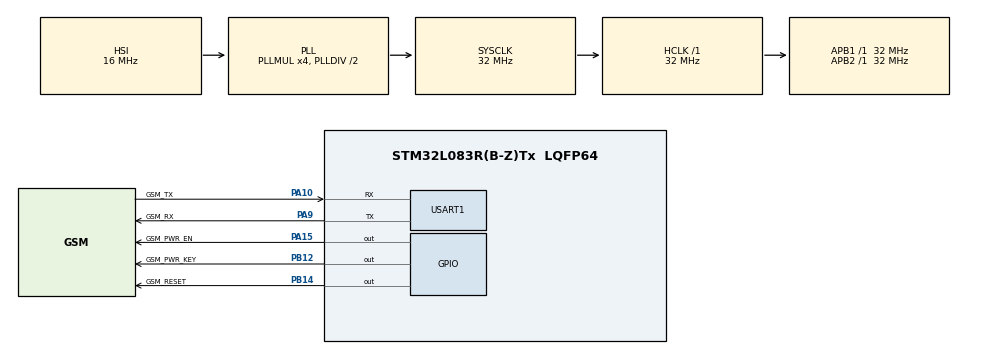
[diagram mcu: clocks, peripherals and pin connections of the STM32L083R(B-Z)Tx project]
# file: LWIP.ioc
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Dma.Request0=USART1_RX
Dma.Request1=USART1_TX
Dma.USART1_RX.0.Direction=DMA_PERIPH_TO_MEMORY
Dma.USART1_RX.0.Instance=DMA1_Channel3
Dma.USART1_RX.0.MemDataAlignment=DMA_MDATAALIGN_BYTE
Dma.USART1_RX.0.MemInc=DMA_MINC_ENABLE
Dma.USART1_RX.0.Mode=DMA_CIRCULAR
Dma.USART1_RX.0.PeriphDataAlignment=DMA_PDATAALIGN_BYTE
Dma.USART1_RX.0.PeriphInc=DMA_PINC_DISABLE
Dma.USART1_RX.0.Priority=DMA_PRIORITY_HIGH
Dma.USART1_TX.1.Direction=DMA_MEMORY_TO_PERIPH
Dma.USART1_TX.1.Instance=DMA1_Channel2
Dma.USART1_TX.1.MemDataAlignment=DMA_MDATAALIGN_BYTE
Dma.USART1_TX.1.MemInc=DMA_MINC_ENABLE
Dma.USART1_TX.1.Mode=DMA_NORMAL
Dma.USART1_TX.1.PeriphDataAlignment=DMA_PDATAALIGN_BYTE
Dma.USART1_TX.1.PeriphInc=DMA_PINC_DISABLE
Dma.USART1_TX.1.Priority=DMA_PRIORITY_HIGH
Mcu.Family=STM32L0
Mcu.Name=STM32L083R(B-Z)Tx
Mcu.Package=LQFP64
NVIC.DMA1_Channel2_3_IRQn=true\:0\:0\:false\:false\:true\:false\:true
NVIC.USART1_IRQn=true\:0\:0\:false\:false\:true\:true\:true
PA10.GPIO_Label=GSM_TX
PA10.Mode=Asynchronous
PA10.Signal=USART1_RX
PA13.Mode=Serial_Wire
PA13.Signal=SYS_SWDIO
PA14.Mode=Serial_Wire
PA14.Signal=SYS_SWCLK
PA15.GPIO_Label=GSM_PWR_EN
PA15.Signal=GPIO_Output
PA9.GPIO_Label=GSM_RX
PA9.Mode=Asynchronous
PA9.Signal=USART1_TX
PB12.GPIO_Label=GSM_PWR_KEY
PB12.Signal=GPIO_Output
PB14.GPIO_Label=GSM_RESET
PB14.Signal=GPIO_Output
ProjectManager.HeapSize=0x200
ProjectManager.StackSize=0x400
ProjectManager.TargetToolchain=MDK-ARM V5.27
RCC.AHBFreq_Value=32000000
RCC.APB1Freq_Value=32000000
RCC.APB1TimFreq_Value=32000000
RCC.APB2Freq_Value=32000000
RCC.APB2TimFreq_Value=32000000
RCC.HCLKFreq_Value=32000000
RCC.HSE_VALUE=8000000
RCC.HSI16_VALUE=16000000
RCC.HSI48_VALUE=48000000
RCC.HSI_VALUE=16000000
RCC.LSE_VALUE=32768
RCC.MSIClockRange=RCC_MSIRANGE_6
RCC.MSI_VALUE=4194000
RCC.PLLMUL=RCC_PLLMUL_4
RCC.RTCClockSelection=RCC_RTCCLKSOURCE_LSI
RCC.RTCClockSelectionVirtual=RCC_RTCCLKSOURCE_LSE
RCC.SYSCLKFreq_VALUE=32000000
RCC.SYSCLKSource=RCC_SYSCLKSOURCE_PLLCLK
RCC.VCOOutputFreq_Value=64000000
USART1.VirtualMode-Asynchronous=VM_ASYNC
board=custom

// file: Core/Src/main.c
/* USER CODE BEGIN Header */
/**
  ******************************************************************************
  * @file           : main.c
  * @brief          : Main program body
  ******************************************************************************
  * @attention
  *
  * <h2><center>&copy; Copyright (c) 2021 STMicroelectronics.
  * All rights reserved.</center></h2>
  *
  * This software component is licensed by ST under BSD 3-Clause license,
  * the "License"; You may not use this file except in compliance with the
  * License. You may obtain a copy of the License at:
  *                        opensource.org/licenses/BSD-3-Clause
  *
  ******************************************************************************
  */
/* USER CODE END Header */
#include "main.h"
#include "dma.h"
#include "usart.h"
#include "gpio.h"

/* USER CODE BEGIN Includes */
#include "init.h"
#include "ppp.h"
#include "dns.h"
#include "app_debug.h"
#include "gsm.h"
#include "mqtt_client.h"
#include "app_http.h"
/* USER CODE END Includes */

void SystemClock_Config(void);

/* USER CODE BEGIN 0 */
static void dns_initialize(void);
/* USER CODE END 0 */

int main(void)
{

  /* MCU Configuration--------------------------------------------------------*/

  /* Reset of all peripherals, Initializes the Flash interface and the Systick. */
  HAL_Init();

  /* Configure the system clock */
  SystemClock_Config();

  /* Initialize all configured peripherals */
  MX_GPIO_Init();
  MX_DMA_Init();
  MX_USART1_UART_Init();
  /* USER CODE BEGIN 2 */
    dns_initialize();
    lwip_init();
    DEBUG_INFO("Application started\r\n");
    gsm_init_hw();

    /* Init mqtt parameter */
    mqtt_client_cfg_t mqtt_cfg =
    {
        .periodic_sub_req_s = 120,            // second
        .broker_addr = "broker.hivemq.com",
        .port = 1883,
        .password = NULL,
        .client_id = "test_lwip_porting",
    };
    mqtt_client_initialize(&mqtt_cfg);

    // Init http parameters
    bool m_http_test_started = false;

  /* USER CODE END 2 */

  /* Infinite loop */
  while (1)
  {

    /* USER CODE BEGIN 3 */
    gsm_mnr_task(NULL);
#if 0
    mqtt_client_polling_task(NULL);
#else
    if (gsm_data_layer_is_ppp_connected() && m_http_test_started == false)
    {
        m_http_test_started = true;
        // http://httpbin.org/get
        app_http_config_t http_cfg;
        sprintf(http_cfg.url, "%s", "httpbin.org");
        http_cfg.port = 80;
        sprintf(http_cfg.file, "%s", "/get");
        http_cfg.on_event_cb = (void*)0;
        app_http_start(&http_cfg);
    }
#endif
  }
  /* USER CODE END 3 */
}

void SystemClock_Config(void)
{
  RCC_OscInitTypeDef RCC_OscInitStruct = {0};
  RCC_ClkInitTypeDef RCC_ClkInitStruct = {0};
  RCC_PeriphCLKInitTypeDef PeriphClkInit = {0};

  /** Configure the main internal regulator output voltage
  */
  __HAL_PWR_VOLTAGESCALING_CONFIG(PWR_REGULATOR_VOLTAGE_SCALE1);
  /** Initializes the RCC Oscillators according to the specified parameters
  * in the RCC_OscInitTypeDef structure.
  */
  RCC_OscInitStruct.OscillatorType = RCC_OSCILLATORTYPE_HSI;
  RCC_OscInitStruct.HSIState = RCC_HSI_ON;
  RCC_OscInitStruct.HSICalibrationValue = RCC_HSICALIBRATION_DEFAULT;
  RCC_OscInitStruct.PLL.PLLState = RCC_PLL_ON;
  RCC_OscInitStruct.PLL.PLLSource = RCC_PLLSOURCE_HSI;
  RCC_OscInitStruct.PLL.PLLMUL = RCC_PLLMUL_4;
  RCC_OscInitStruct.PLL.PLLDIV = RCC_PLLDIV_2;
  if (HAL_RCC_OscConfig(&RCC_OscInitStruct) != HAL_OK)
  {
    Error_Handler();
  }
  /** Initializes the CPU, AHB and APB buses clocks
  */
  RCC_ClkInitStruct.ClockType = RCC_CLOCKTYPE_HCLK|RCC_CLOCKTYPE_SYSCLK
                              |RCC_CLOCKTYPE_PCLK1|RCC_CLOCKTYPE_PCLK2;
  RCC_ClkInitStruct.SYSCLKSource = RCC_SYSCLKSOURCE_PLLCLK;
  RCC_ClkInitStruct.AHBCLKDivider = RCC_SYSCLK_DIV1;
  RCC_ClkInitStruct.APB1CLKDivider = RCC_HCLK_DIV1;
  RCC_ClkInitStruct.APB2CLKDivider = RCC_HCLK_DIV1;

  if (HAL_RCC_ClockConfig(&RCC_ClkInitStruct, FLASH_LATENCY_1) != HAL_OK)
  {
    Error_Handler();
  }
  PeriphClkInit.PeriphClockSelection = RCC_PERIPHCLK_USART1;
  PeriphClkInit.Usart1ClockSelection = RCC_USART1CLKSOURCE_PCLK2;
  if (HAL_RCCEx_PeriphCLKConfig(&PeriphClkInit) != HAL_OK)
  {
    Error_Handler();
  }
}

/* USER CODE BEGIN 4 */
uint32_t sys_get_tick_ms(void)
{
    return HAL_GetTick();
}

static void dns_initialize(void)
{
    ip_addr_t dns_server_0 = IPADDR4_INIT_BYTES(8, 8, 8, 8);
    ip_addr_t dns_server_1 = IPADDR4_INIT_BYTES(1, 1, 1, 1);
    dns_setserver(0, &dns_server_0);
    dns_setserver(1, &dns_server_1);
    dns_init();
}

uint32_t sys_rand()
{
    return SysTick->VAL;
}

/* USER CODE END 4 */

void Error_Handler(void)
{
  __disable_irq();
  while (1)
  {
  }
}

/************************ (C) COPYRIGHT STMicroelectronics *****END OF FILE****/
